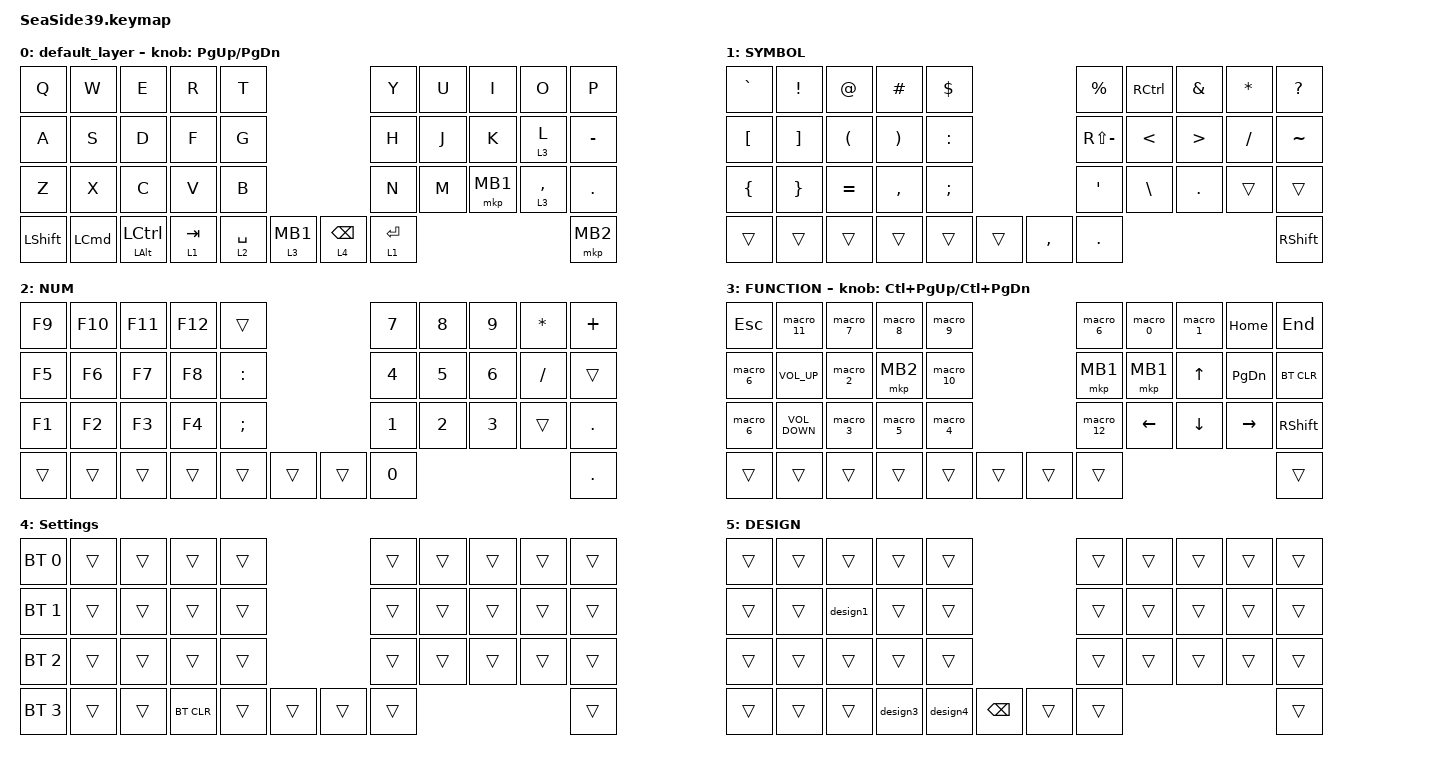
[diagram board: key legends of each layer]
#include <behaviors.dtsi>
#include <dt-bindings/zmk/bt.h>
#include <dt-bindings/zmk/keys.h>
#include <dt-bindings/zmk/pointing.h>

#define MOUSE 4
#define SCROLL 5
#define NUM 6

&mt {
    flavor = "balanced";
    quick-tap-ms = <300>;
};

&lt {
    flavor = "balanced";
    quick-tap-ms = <300>;
};

/ {
    combos {
        compatible = "zmk,combos";

        layer5 {
            bindings = <&lt 5 Z>;
            key-positions = <20 21>;
        };

        Control {
            bindings = <&kp LCTRL>;
            key-positions = <30 33>;
        };
    };

    macros {
        macro_0: macro_0 {
            compatible = "zmk,behavior-macro";
            #binding-cells = <0>;
            bindings =
                <&macro_press>,
                <&kp LEFT_COMMAND>,
                <&macro_tap>,
                <&kp LBKT>,
                <&macro_release>,
                <&kp LEFT_COMMAND>;

            label = "MACRO_0";
        };

        macro_1: macro_1 {
            compatible = "zmk,behavior-macro";
            #binding-cells = <0>;
            bindings =
                <&macro_press>,
                <&kp LEFT_COMMAND>,
                <&macro_tap>,
                <&kp RBKT>,
                <&macro_release>,
                <&kp LEFT_COMMAND>;

            label = "MACRO_1";
        };

        macro_2: macro_2 {
            compatible = "zmk,behavior-macro";
            #binding-cells = <0>;
            bindings =
                <&macro_press>,
                <&kp RCTRL>,
                <&macro_tap>,
                <&kp UP_ARROW>,
                <&macro_release>,
                <&kp RCTRL>;

            label = "MACRO_2";
        };

        macro_3: macro_3 {
            compatible = "zmk,behavior-macro";
            #binding-cells = <0>;
            bindings =
                <&macro_press>,
                <&kp LEFT_COMMAND &kp LEFT_ALT>,
                <&macro_tap>,
                <&kp LEFT_ARROW>,
                <&macro_release>,
                <&kp LEFT_COMMAND &kp LEFT_ALT>;

            label = "MACRO_3";
        };

        macro_4: macro_4 {
            compatible = "zmk,behavior-macro";
            #binding-cells = <0>;
            bindings =
                <&macro_press>,
                <&kp LEFT_COMMAND &kp LEFT_ALT>,
                <&macro_tap>,
                <&kp RIGHT_ARROW>,
                <&macro_release>,
                <&kp LEFT_COMMAND &kp LEFT_ALT>;

            label = "MACRO_4";
        };

        macro_5: macro_5 {
            compatible = "zmk,behavior-macro";
            #binding-cells = <0>;
            bindings =
                <&macro_press>,
                <&kp LEFT_COMMAND &kp LEFT_ALT>,
                <&macro_tap>,
                <&kp F>,
                <&macro_release>,
                <&kp LEFT_COMMAND &kp LEFT_ALT>;

            label = "MACRO_5";
        };

        macro_6: macro_6 {
            compatible = "zmk,behavior-macro";
            #binding-cells = <0>;
            bindings =
                <&macro_press>,
                <&kp LCTRL>,
                <&macro_tap>,
                <&kp SPACE>,
                <&macro_release>,
                <&kp LCTRL>;

            label = "MACRO_6";
        };

        macro_7: macro_7 {
            compatible = "zmk,behavior-macro";
            #binding-cells = <0>;
            bindings =
                <&macro_press>,
                <&kp LEFT_COMMAND &kp LEFT_ALT>,
                <&macro_tap>,
                <&kp ENTER>,
                <&macro_release>,
                <&kp LEFT_COMMAND &kp LEFT_ALT>;

            label = "MACRO_7";
        };

        macro_8: macro_8 {
            compatible = "zmk,behavior-macro";
            #binding-cells = <0>;
            bindings =
                <&macro_press>,
                <&kp LEFT_COMMAND &kp LEFT_SHIFT &kp LCTRL>,
                <&macro_tap>,
                <&kp NUMBER_4>,
                <&macro_release>,
                <&kp LEFT_COMMAND &kp LEFT_SHIFT &kp LCTRL>;

            label = "MACRO_8";
        };

        macro_9: macro_9 {
            compatible = "zmk,behavior-macro";
            #binding-cells = <0>;
            bindings =
                <&macro_press>,
                <&kp LEFT_COMMAND &kp LEFT_SHIFT>,
                <&macro_tap>,
                <&kp NUMBER_4>,
                <&macro_release>,
                <&kp LEFT_COMMAND &kp LEFT_SHIFT>;

            label = "MACRO_9";
        };

        macro_10: macro_10 {
            compatible = "zmk,behavior-macro";
            #binding-cells = <0>;
            bindings =
                <&macro_press>,
                <&kp LCTRL>,
                <&macro_tap>,
                <&kp TAB>,
                <&macro_release>,
                <&kp LCTRL>;

            label = "MACRO_10";
        };

        macro_11: macro_11 {
            compatible = "zmk,behavior-macro";
            #binding-cells = <0>;
            bindings =
                <&macro_press>,
                <&kp LCTRL>,
                <&macro_tap>,
                <&kp C>,
                <&macro_release>,
                <&kp LCTRL>;

            label = "MACRO_11";
        };

        macro_12: macro_12 {
            compatible = "zmk,behavior-macro";
            #binding-cells = <0>;
            bindings =
                <&macro_press>,
                <&kp LEFT_COMMAND &kp LEFT_SHIFT>,
                <&macro_tap>,
                <&kp SEMI>,
                <&macro_release>,
                <&kp LEFT_COMMAND &kp LEFT_SHIFT>;

            label = "MACRO_12";
        };

        design1: design1 {
            compatible = "zmk,behavior-macro";
            #binding-cells = <0>;
            bindings =
                <&macro_press>,
                <&kp LEFT_CONTROL &kp LEFT_ALT>,
                <&macro_tap>,
                <&kp T>,
                <&macro_release>,
                <&kp LEFT_CONTROL &kp LEFT_ALT>;

            label = "DESIGN1";
        };

        design2: design2 {
            compatible = "zmk,behavior-macro";
            #binding-cells = <0>;
            bindings =
                <&macro_press>,
                <&kp LEFT_SHIFT &kp LEFT_ALT>,
                <&macro_tap>,
                <&kp P>,
                <&macro_release>,
                <&kp LEFT_SHIFT &kp LEFT_ALT>;

            label = "DESIGN2";
        };

        design3: design3 {
            compatible = "zmk,behavior-macro";
            #binding-cells = <0>;
            bindings =
                <&macro_press>,
                <&kp LEFT_COMMAND &kp LEFT_ALT>,
                <&macro_tap>,
                <&kp C>,
                <&macro_release>,
                <&kp LEFT_COMMAND &kp LEFT_ALT>;

            label = "DESIGN3";
        };

        design4: design4 {
            compatible = "zmk,behavior-macro";
            #binding-cells = <0>;
            bindings =
                <&macro_press>,
                <&kp LEFT_COMMAND &kp LEFT_ALT>,
                <&macro_tap>,
                <&kp V>,
                <&macro_release>,
                <&kp LEFT_COMMAND &kp LEFT_ALT>;

            label = "DESIGN4";
        };
    };

    behaviors {
        lt_to_layer_0: lt_to_layer_0 {
            compatible = "zmk,behavior-hold-tap";
            label = "LAYER_TAP_TO_0";
            bindings = <&mo>, <&macro_0>;

            #binding-cells = <2>;
            tapping-term-ms = <200>;
        };

        lt_mouse_layer: lt_mouse_layer {
            compatible = "zmk,behavior-hold-tap";
            label = "LAYER_TAP_MOUSE";
            bindings = <&mo>, <&mkp>;

            #binding-cells = <2>;
            tapping-term-ms = <200>;
        };
    };

    keymap {
        compatible = "zmk,keymap";

        default_layer {
            bindings = <
&kp Q           &kp W             &kp E               &kp R      &kp T                                                    &kp Y        &kp U  &kp I     &kp O        &kp P
&kp A           &kp S             &kp D               &kp F      &kp G                                                    &kp H        &kp J  &kp K     &lt 3 L      &kp MINUS
&kp Z           &kp X             &kp C               &kp V      &kp B                                                    &kp N        &kp M  &mkp MB1  &lt 3 COMMA  &kp PERIOD
&kp LEFT_SHIFT  &kp LEFT_COMMAND  &mt LEFT_ALT LCTRL  &lt 1 TAB  &lt 2 SPACE  &lt_mouse_layer 3 MB1      &lt 4 BACKSPACE  &lt 1 ENTER                                &mkp MB2
            >;

            sensor-bindings = <&inc_dec_kp PG_UP PAGE_DOWN>;
        };

        SYMBOL {
            bindings = <
&kp GRAVE       &kp EXCLAMATION  &kp AT_SIGN           &kp HASH               &kp DOLLAR                         &kp PERCENT       &kp RCTRL      &kp AMPERSAND     &kp ASTERISK  &kp QUESTION
&kp LBKT        &kp RBKT         &kp LEFT_PARENTHESIS  &kp RIGHT_PARENTHESIS  &kp COLON                          &kp RS(MINUS)     &kp LESS_THAN  &kp GREATER_THAN  &kp SLASH     &kp TILDE
&kp LEFT_BRACE  &kp RIGHT_BRACE  &kp EQUAL             &kp COMMA              &kp SEMI                           &kp SINGLE_QUOTE  &kp BACKSLASH  &kp PERIOD        &trans        &trans
&trans          &trans           &trans                &trans                 &trans      &trans      &kp COMMA  &kp PERIOD                                                       &kp RIGHT_SHIFT
            >;
        };

        NUM {
            bindings = <
&kp F9  &kp F10  &kp F11  &kp F12  &trans                         &kp N7        &kp NUMBER_8  &kp NUMBER_9  &kp ASTERISK  &kp PLUS
&kp F5  &kp F6   &kp F7   &kp F8   &kp COLON                      &kp NUMBER_4  &kp NUMBER_5  &kp NUMBER_6  &kp SLASH     &trans
&kp F1  &kp F2   &kp F3   &kp F4   &kp SEMI                       &kp NUMBER_1  &kp NUMBER_2  &kp NUMBER_3  &trans        &kp DOT
&trans  &trans   &trans   &trans   &trans     &trans      &trans  &kp NUMBER_0                                            &kp PERIOD
            >;
        };

        FUNCTION {
            bindings = <
&kp ESCAPE  &macro_11          &macro_7  &macro_8  &macro_9                       &macro_6   &macro_0        &macro_1        &kp HOME         &kp END
&macro_6    &kp C_VOLUME_UP    &macro_2  &mkp MB2  &macro_10                      &mkp MB1   &mkp MB1        &kp UP_ARROW    &kp PAGE_DOWN    &bt BT_CLR
&macro_6    &kp C_VOLUME_DOWN  &macro_3  &macro_5  &macro_4                       &macro_12  &kp LEFT_ARROW  &kp DOWN_ARROW  &kp RIGHT_ARROW  &kp RIGHT_SHIFT
&trans      &trans             &trans    &trans    &trans     &trans      &trans  &trans                                                      &trans
            >;

            sensor-bindings = <&inc_dec_kp LC(PAGE_UP) LC(PAGE_DOWN)>;
        };

        Settings {
            bindings = <
&bt BT_SEL 0  &trans  &trans  &trans      &trans                      &trans  &trans  &trans  &trans  &trans
&bt BT_SEL 1  &trans  &trans  &trans      &trans                      &trans  &trans  &trans  &trans  &trans
&bt BT_SEL 2  &trans  &trans  &trans      &trans                      &trans  &trans  &trans  &trans  &trans
&bt BT_SEL 3  &trans  &trans  &bt BT_CLR  &trans  &trans      &trans  &trans                          &trans
            >;
        };

        DESIGN {
            bindings = <
&trans  &trans  &trans    &trans    &trans                               &trans  &trans  &trans  &trans  &trans
&trans  &trans  &design1  &trans    &trans                               &trans  &trans  &trans  &trans  &trans
&trans  &trans  &trans    &trans    &trans                               &trans  &trans  &trans  &trans  &trans
&trans  &trans  &trans    &design3  &design4  &kp BACKSPACE      &trans  &trans                          &trans
            >;
        };
    };
};
